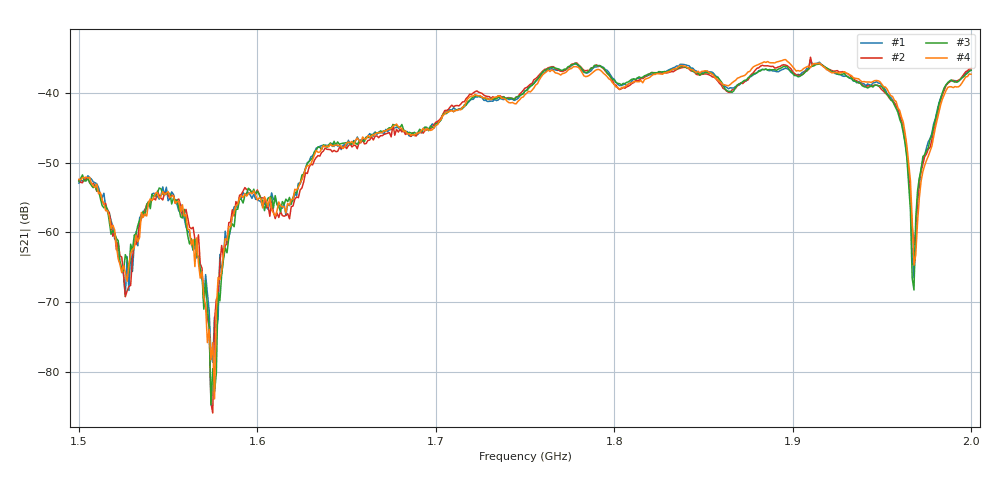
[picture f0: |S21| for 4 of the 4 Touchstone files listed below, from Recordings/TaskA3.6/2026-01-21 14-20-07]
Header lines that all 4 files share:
! NanoVNA-App by SYSJOINT et al v1.1.209 (+OD18)
! Start: 1,5GHz Stop: 2GHz Points: 501
! S-Parameter data: F S11 S21 S12 S22
# Hz S RI R 50
!  Frequency  S11_Real  S11_Imag  S21_Real  S21_Imag  S12_Real  S12_Imag  S22_Real  S22_Imag
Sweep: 1.5 GHz to 2 GHz
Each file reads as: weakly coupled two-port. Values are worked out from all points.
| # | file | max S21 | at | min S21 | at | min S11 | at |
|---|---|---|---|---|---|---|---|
| 1 | 0.s2p | -35.30 dB | 1.91 GHz | -78.6 dB | 1.575 GHz | -30.6 dB | 1.816 GHz |
| 2 | 1.s2p | -34.96 dB | 1.91 GHz | -85.8 dB | 1.575 GHz | -31.3 dB | 1.816 GHz |
| 3 | 2.s2p | -35.81 dB | 1.778 GHz | -84.6 dB | 1.574 GHz | -30.3 dB | 1.816 GHz |
| 4 | 3.s2p | -35.29 dB | 1.896 GHz | -83.8 dB | 1.576 GHz | -30.4 dB | 1.816 GHz |
